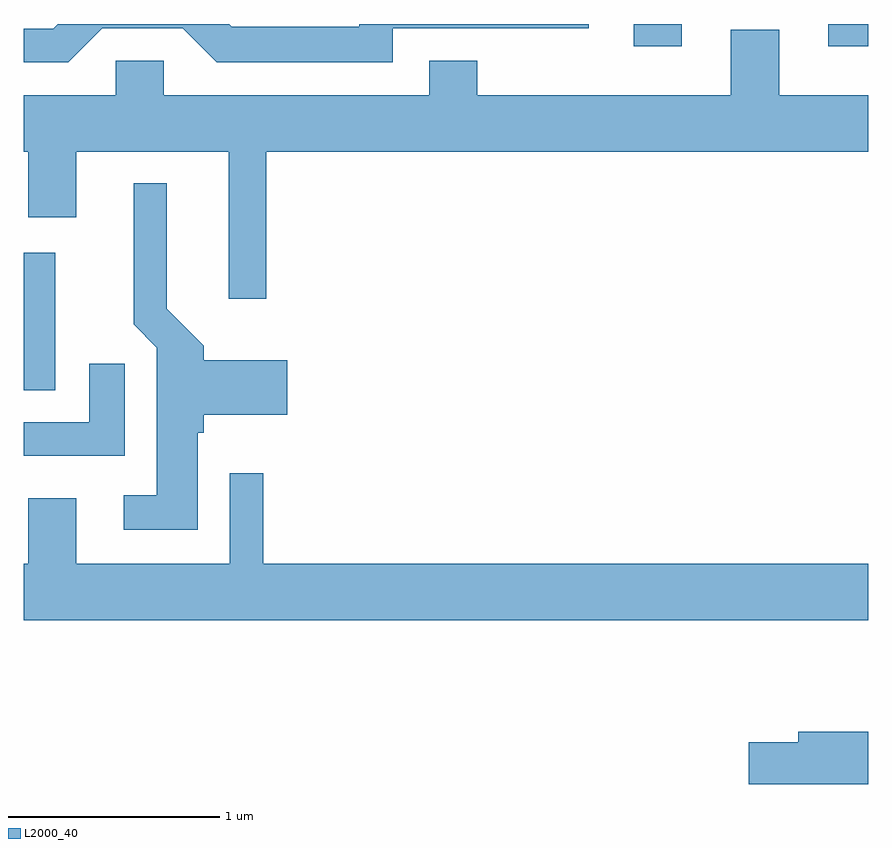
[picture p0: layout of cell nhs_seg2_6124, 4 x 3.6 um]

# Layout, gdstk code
import gdstk
lib = gdstk.Library(unit=1e-6, precision=1e-09)
def R(c, l, rs):  # rectangles x0, y0, x1, y1
    for r in rs: c.add(gdstk.rectangle(r[:2], r[2:], *l))
def P(c, l, *ps):  # polygons
    for p in ps: c.add(gdstk.Polygon(p, *l))
L2000_40 = (2000, 40)

nhs_seg2_6124 = lib.new_cell('nhs_seg2_6124')
R(nhs_seg2_6124, L2000_40, [(365.611,1056.066,365.759,1056.719), (368.501,1057.696,368.729,1057.802), (369.421,1057.696,369.611,1057.802)])
P(nhs_seg2_6124, L2000_40, [(365.982,1057.781),(366.364,1057.781),(366.524,1057.621),(367.359,1057.621),(367.359,1057.781),(368.288,1057.781),(368.288,1057.802),(367.201,1057.802),(367.201,1057.789),(366.597,1057.789),(366.584,1057.802),(365.772,1057.802),(365.749,1057.779),(365.611,1057.779),(365.611,1057.621),(365.822,1057.621)],
  [(366.759,1057.196),(369.611,1057.196),(369.611,1057.464),(369.189,1057.464),(369.189,1057.774),(368.961,1057.774),(368.961,1057.464),(367.759,1057.464),(367.759,1057.629),(367.531,1057.629),(367.531,1057.464),(366.274,1057.464),(366.274,1057.629),(366.046,1057.629),(366.046,1057.464),(365.611,1057.464),(365.611,1057.196),(365.631,1057.196),(365.631,1056.886),(365.859,1056.886),(365.859,1057.196),(366.581,1057.196),(366.581,1056.501),(366.759,1056.501)],
  [(366.434,1055.866),(366.464,1055.866),(366.464,1055.951),(366.859,1055.951),(366.859,1056.209),(366.464,1056.209),(366.464,1056.277),(366.289,1056.452),(366.289,1057.048),(366.131,1057.048),(366.131,1056.379),(366.241,1056.269),(366.241,1055.569),(366.083,1055.569),(366.083,1055.406),(366.434,1055.406)],
  [(366.089,1056.193),(365.921,1056.193),(365.921,1055.914),(365.611,1055.914),(365.611,1055.756),(366.089,1055.756)],
  [(369.611,1055.244),(366.744,1055.244),(366.744,1055.673),(366.586,1055.673),(366.586,1055.244),(365.859,1055.244),(365.859,1055.554),(365.631,1055.554),(365.631,1055.244),(365.611,1055.244),(365.611,1054.976),(369.611,1054.976)],
  [(369.611,1054.449),(369.281,1054.449),(369.281,1054.399),(369.046,1054.399),(369.046,1054.201),(369.611,1054.201)])

lib.write_gds('nhs_seg2_6124.gds')
